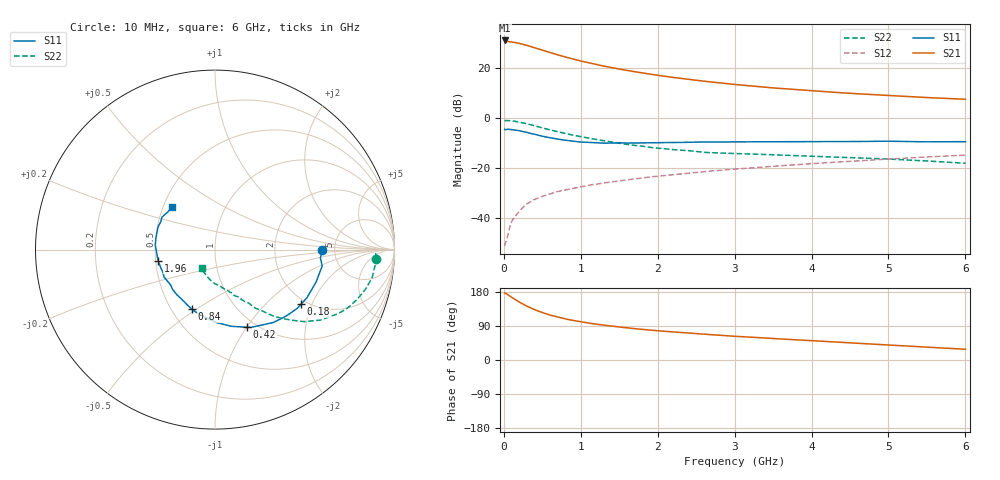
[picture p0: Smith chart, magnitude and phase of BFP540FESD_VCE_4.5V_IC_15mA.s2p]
! Infineon Technologies  Discrete & RF Semiconductors
! BFP540FESD
! VCE =  4.5 V,  IC =  15 mA
! Common Emitter S-Parameters:  Nov 2015
# GHz  S  MA  R  50
!  f  S11  S21  S12  S22
! GHz  MAG  ANG  MAG  ANG  MAG  ANG  MAG  ANG
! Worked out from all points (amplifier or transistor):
!   210 points, 10 MHz to 6 GHz, reference 50 ohm
!   highest |S21| = 31.2 dB at 10 MHz (marker M1)
!   |S21| within 3 dB of that: start of sweep to 406.9 MHz
!   unconditionally stable (mu >= 1): start of sweep to 29.74 MHz; 1.935 GHz to end of sweep
!   at 185 MHz: K = 0.42, MSG = 34.1 dB, |S12| = -38.0 dB
!   at 1.52 GHz: K = 0.92, MSG = 22.4 dB, |S12| = -25.1 dB
!   at 6 GHz: K = 1.19, MAG = 8.6 dB, |S12| = -14.8 dB
!   S11 on the Smith chart (normalised r, x): 10 MHz: 3.97, -0.04; 180 MHz: 1.87, -1.67; 420 MHz: 0.91, -1.00; 840 MHz: 0.63, -0.48; 1.96 GHz: 0.52, -0.07; 6 GHz: 0.56, +0.30
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0.01  0.5975 -0.3  36.44 177.1  0.0027 10.0  0.8975 -3.3
0.02  0.589 -4.5  34.92 176.4  0.0031 28.7  0.8956 -1.5
0.05  0.6041 -8.7  34.87 172.4  0.0043 50.6  0.8979 -4.9
0.1  0.5916 -17.7  33.97 165.7  0.0083 58.7  0.8892 -10.2
0.15  0.5782 -27.6  33.2 159.3  0.0109 65.5  0.8665 -14.9
0.18  0.568 -32.3  32.31 155.6  0.0124 65.8  0.8483 -17.6
0.22  0.5534 -38.7  31.21 150.8  0.0146 65.6  0.825 -21.2
0.3  0.5191 -51.6  29 142.0  0.0191 63.2  0.7743 -27.4
0.42  0.4675 -67.6  25.42 131.3  0.0241 60.8  0.6926 -34.7
0.5  0.4371 -77.9  23.31 125.0  0.027 60.4  0.6391 -38.9
0.6  0.4063 -89.0  20.78 118.5  0.0302 58.3  0.5827 -42.5
0.7  0.3815 -98.2  18.75 113.3  0.0338 59.0  0.5363 -45.7
0.84  0.3548 -111.4  16.32 106.9  0.0375 57.7  0.4774 -49.6
1.02  0.332 -124.7  13.87 100.2  0.0425 57.3  0.4207 -53.2
1.4  0.3177 -146.9  10.4 89.3  0.0526 57.2  0.3329 -60.3
1.96  0.3223 -169.0  7.441 77.9  0.0675 56.5  0.2547 -69.7
2.02  0.323 -171.1  7.214 76.8  0.0688 56.3  0.2494 -71.0
2.6  0.3339 176.0  5.538 68.0  0.0847 54.6  0.2066 -81.6
3.1  0.3357 167.5  4.624 61.5  0.0976 52.6  0.1936 -88.0
4.1  0.3409 157.0  3.475 49.9  0.1253 48.2  0.1703 -99.3
5.1  0.3438 147.1  2.81 38.4  0.1545 41.5  0.1488 -109.8
6  0.3385 134.9  2.403 28.4  0.1814 35.1  0.1247 -124.0
